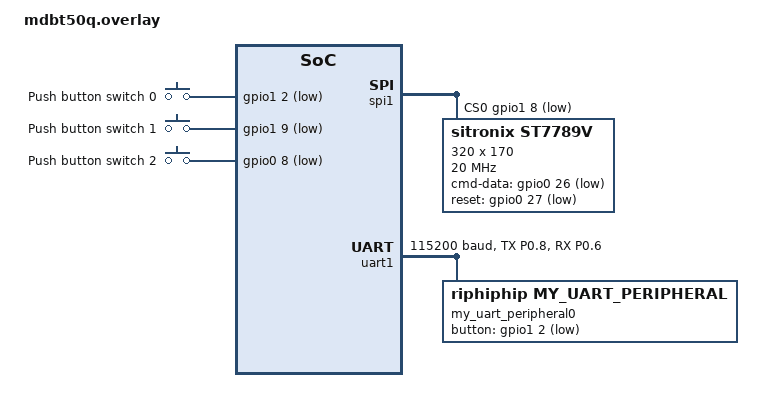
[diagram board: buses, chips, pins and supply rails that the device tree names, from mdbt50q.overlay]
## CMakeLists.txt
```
# SPDX-License-Identifier: Apache-2.0

# For the sake of demonstration, we add the driver directory as a zephyr module
# by hand. If your driver is a project that's managed by west, you can remove this line.
cmake_minimum_required(VERSION 3.20.0)

list(APPEND ZEPHYR_EXTRA_MODULES ${CMAKE_CURRENT_SOURCE_DIR}/my_oot_drivers)

find_package(Zephyr REQUIRED HINTS $ENV{ZEPHYR_BASE})
project(out_of_tree_driver)

target_include_directories(app PRIVATE ${CMAKE_CURRENT_SOURCE_DIR}/my_oot_drivers/drivers/my_uart_peripheral/)

FILE(GLOB app_sources src/*.c)
FILE(GLOB my_drv my_oot_drivers/drivers/my_uart_peripheral/*.c)

target_sources(app PRIVATE ${my_drv})
target_sources(app PRIVATE ${app_sources})
```

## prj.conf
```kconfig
CONFIG_LV_Z_MEM_POOL_NUMBER_BLOCKS=8
CONFIG_MAIN_STACK_SIZE=8192

CONFIG_DISPLAY=y
CONFIG_DISPLAY_LOG_LEVEL_ERR=y

CONFIG_LOG=y

CONFIG_LVGL=y
CONFIG_LV_USE_PERF_MONITOR=y
CONFIG_LV_MEM_CUSTOM=y
CONFIG_LV_USE_LOG=y
CONFIG_LV_USE_LABEL=y
CONFIG_LV_USE_BTN=y
CONFIG_LV_USE_IMG=y
CONFIG_LV_USE_METER=y
CONFIG_LV_FONT_MONTSERRAT_14=y

# Enable custom device driver
CONFIG_UART_INTERRUPT_DRIVEN=y
CONFIG_MY_UART_PERIPHERAL=y
CONFIG_MY_UART_PERIPHERAL_RX_BUF_SIZE=256
```

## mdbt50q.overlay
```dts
// To get started, press Ctrl+Space to bring up the completion menu and view the available nodes.

// You can also use the buttons in the sidebar to perform actions on nodes.
// Actions currently available include:

// * Enabling / disabling the node
// * Adding the bus to a bus
// * Removing the node
// * Connecting ADC channels

// For more help, browse the DeviceTree documentation at https://docs.zephyrproject.org/latest/guides/dts/index.html
// You can also visit the nRF DeviceTree extension documentation at https://nrfconnect.github.io/vscode-nrf-connect/devicetree/nrfdevicetree.html

// To get started, press Ctrl+Space to bring up the completion menu and view the available nodes.

// You can also use the buttons in the sidebar to perform actions on nodes.
// Actions currently available include:

// * Enabling / disabling the node
// * Adding the bus to a bus
// * Removing the node
// * Connecting ADC channels

// For more help, browse the DeviceTree documentation at https://docs.zephyrproject.org/latest/guides/dts/index.html
// You can also visit the nRF DeviceTree extension documentation at https://nrfconnect.github.io/vscode-nrf-connect/devicetree/nrfdevicetree.html

/ {
	chosen {
		zephyr,display = &st7789v;
	};

    buttons {
        compatible = "gpio-keys";
        button0: button_0 {
            gpios = <&gpio1 2 (GPIO_PULL_UP | GPIO_ACTIVE_LOW)>;
            label = "Push button switch 0";
        };
        button1: button_1 {
            gpios = <&gpio1 9 (GPIO_PULL_UP | GPIO_ACTIVE_LOW)>;
            label = "Push button switch 1";
        };
        button2: button_2 {
            gpios = <&gpio0 8 (GPIO_PULL_UP | GPIO_ACTIVE_LOW)>;
            label = "Push button switch 2";
        };        
    };

    aliases {
		sw0 = &button0;
		sw1 = &button1;
		sw2 = &button2;
	};

};

&spi1 {
	status = "okay";
	cs-gpios = <&gpio1 8 GPIO_ACTIVE_LOW>; /* D5 TFT*/

    st7789v: st7789v@0 {
		compatible = "sitronix,st7789v";
		label = "ST7789V";
		spi-max-frequency = <20000000>;
		reg = <0>;
		cmd-data-gpios = <&gpio0 26 GPIO_ACTIVE_LOW>;	/* D9 */
		reset-gpios = <&gpio0 27 GPIO_ACTIVE_LOW>;	/* D10 */
		width = <320>;
		height = <170>;
		x-offset = <0>;
		y-offset = <35>;
		vcom = <0x2b>;
		gctrl = <0x35>;
		vrhs = <0x0f>;
		vdvs = <0x20>;
		mdac = <0x60>;
		gamma = <0x01>;
		colmod = <0x55>;
		lcm = <0x2c>;
		porch-param = [0c 0c 00 33 33];
		cmd2en-param = [5a 69 02 01];
		pwctrl1-param = [52 a1];
		pvgam-param = [D0 00 02 07 0B 1A 31 54 40 29 12 12 12 17];
		nvgam-param = [D0 00 02 07 05 15 2D 44 44 1C 18 16 1C 1D];
		ram-param = [00 F8];
		rgb-param = [CD 08 14];
	};
};

&uart1 {
    compatible = "nordic,nrf-uarte";
    reg = <0x40028000 0x1000>;
    interrupts = <40 NRF_DEFAULT_IRQ_PRIORITY>;
    status = "okay";
    current-speed = <115200>;
    
    pinctrl-0 = <&uart1_default>;
	pinctrl-1 = <&uart1_sleep>;
	pinctrl-names = "default", "sleep";     

    my_device: my_uart_peripheral0 {
        compatible = "riphiphip,my_uart_peripheral";
        status="okay";
        label = "my_uart_peripheral0";
        button-gpios = <&gpio1 2 (GPIO_PULL_UP | GPIO_ACTIVE_LOW)>; // Button 1 on dk
        initial-string = "Hello, World!";
    };
};

&pinctrl {
    uart1_default: uart1_default {
		group1 {
			psels = <NRF_PSEL(UART_TX, 0, 8)>,
				<NRF_PSEL(UART_RX, 0, 6)>;
		};
	};

	uart1_sleep: uart1_sleep {
		group1 {
			psels = <NRF_PSEL(UART_TX, 0, 8)>,
				<NRF_PSEL(UART_RX, 0, 6)>;
			low-power-enable;
		};
	};
};
```

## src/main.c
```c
/*
 * Copyright (c) 2018 Jan Van Winkel <jan.van_winkel@dxplore.eu>
 *
 * SPDX-License-Identifier: Apache-2.0
 */

#include <zephyr/device.h>
#include <zephyr/devicetree.h>
#include <zephyr/drivers/display.h>
#include <zephyr/drivers/uart.h>
#include <lvgl.h>
#include <stdio.h>
#include <stdlib.h>
#include <string.h>
#include <zephyr/kernel.h>

#include "api.h"

#define LOG_LEVEL CONFIG_LOG_DEFAULT_LEVEL
#include <zephyr/logging/log.h>
LOG_MODULE_REGISTER(main, LOG_LEVEL_DBG);

#define STACK_SIZE 8192
#define PRIORITY 7

K_THREAD_STACK_DEFINE(stack_area1, STACK_SIZE);
K_THREAD_STACK_DEFINE(stack_area2, STACK_SIZE);

struct DATAMQ {  
  int data;
};

K_MSGQ_DEFINE(data_msgq, sizeof(struct DATAMQ), 80, 16);

static const struct device *uart_dev = DEVICE_DT_GET(DT_NODELABEL(uart1));

lv_obj_t *count_label;
lv_obj_t * meter;
lv_meter_scale_t * scale;
lv_meter_indicator_t * indic;
lv_obj_t * my_Cir;

void peripheral_callback(const struct device *dev, char *data, size_t length, bool is_string, void *user_data)
{
    struct DATAMQ data_msg;

    data_msg.data = atoi(data);

    printk("Time %d, %d\r\n", k_uptime_get_32(), data_msg.data);

    while (k_msgq_put(&data_msgq, &data_msg, K_NO_WAIT) != 0) {
              /* message queue is full: purge old data & try again */
              k_msgq_purge(&data_msgq);
          }
          // lv_tick_inc(10);
}

// Task: command line interface (CLI)
void doCLI() 
{
  const struct device *dev = device_get_binding(DT_LABEL(DT_NODELABEL(my_device)));
  my_uart_set_callback(dev, peripheral_callback, NULL);
}

void update_GUI(void)
{
	char count_str[11] = {0};
	struct DATAMQ data_msg;
  lv_area_t a;

	while (1) {
		// printk("Update GUI\r\n");
		k_msgq_get(&data_msgq, &data_msg, K_NO_WAIT);
		

		sprintf(count_str, "%d", data_msg.data);
		lv_label_set_text(count_label, count_str);
    lv_obj_set_size(my_Cir , 50, data_msg.data - 1900);
    // lv_meter_set_indicator_value(meter, indic, data_msg.data);
		
		lv_task_handler();
		k_yield();
	}
}

void main(void)
{
	int err;
	char count_str[11] = {0};
	const struct device *display_dev;

	if (!device_is_ready(uart_dev)) {
		LOG_ERR("UART device not ready\n");
		return;
	}


	display_dev = DEVICE_DT_GET(DT_CHOSEN(zephyr_display));
	if (!device_is_ready(display_dev)) {
		LOG_ERR("Device not ready, aborting test");
		return;
	}

	lv_disp_t * dispp = lv_disp_get_default();
  lv_theme_t * theme = lv_theme_default_init(dispp, lv_palette_main(LV_PALETTE_BLUE), lv_palette_main(LV_PALETTE_RED),
                                              true, LV_FONT_DEFAULT);
  lv_disp_set_theme(dispp, theme);
	
  my_Cir = lv_obj_create(lv_scr_act());
  lv_obj_set_size(my_Cir , 0, 0);
  lv_obj_align(my_Cir, LV_ALIGN_CENTER, 75, 0);
  lv_obj_set_style_bg_color(my_Cir , lv_palette_main(LV_PALETTE_BLUE), 0);
  lv_obj_set_style_radius(my_Cir , LV_RADIUS_CIRCLE, 0);

	meter = lv_meter_create(lv_scr_act());
  lv_obj_align(meter, LV_ALIGN_CENTER, -75, 0);
  lv_obj_set_size(meter, 150, 150);

  /*Add a scale first*/
  scale = lv_meter_add_scale(meter);
  lv_meter_set_scale_ticks(meter, scale, 41, 2, 10, lv_palette_main(LV_PALETTE_GREY));
  lv_meter_set_scale_major_ticks(meter, scale, 8, 4, 15, lv_color_black(), 10);

  /*Add a blue arc to the start*/
  indic = lv_meter_add_arc(meter, scale, 3, lv_palette_main(LV_PALETTE_BLUE), 0);
  lv_meter_set_indicator_start_value(meter, indic, 0);
  lv_meter_set_indicator_end_value(meter, indic, 20);

  /*Make the tick lines blue at the start of the scale*/
  indic = lv_meter_add_scale_lines(meter, scale, lv_palette_main(LV_PALETTE_BLUE), lv_palette_main(LV_PALETTE_BLUE), false, 0);
  lv_meter_set_indicator_start_value(meter, indic, 0);
  lv_meter_set_indicator_end_value(meter, indic, 20);

  /*Add a red arc to the end*/
  indic = lv_meter_add_arc(meter, scale, 3, lv_palette_main(LV_PALETTE_RED), 0);
  lv_meter_set_indicator_start_value(meter, indic, 80);
  lv_meter_set_indicator_end_value(meter, indic, 100);

  /*Make the tick lines red at the end of the scale*/
  indic = lv_meter_add_scale_lines(meter, scale, lv_palette_main(LV_PALETTE_RED), lv_palette_main(LV_PALETTE_RED), false, 0);
  lv_meter_set_indicator_start_value(meter, indic, 80);
  lv_meter_set_indicator_end_value(meter, indic, 100);

  /*Add a needle line indicator*/
  indic = lv_meter_add_needle_line(meter, scale, 4, lv_palette_main(LV_PALETTE_GREY), -10);

	count_label = lv_label_create(lv_scr_act());
	lv_obj_align(count_label, LV_ALIGN_BOTTOM_MID, 0, 0);

	lv_task_handler();
	display_blanking_off(display_dev);

	struct k_thread thread1, thread2;

	k_thread_create(&thread1, stack_area1,
                                 K_THREAD_STACK_SIZEOF(stack_area1),
                                 update_GUI,
                                 NULL, NULL, NULL,
                                 PRIORITY, 0, K_NO_WAIT);

	k_thread_create(&thread2, stack_area2,
                                 K_THREAD_STACK_SIZEOF(stack_area2),
                                 doCLI,
                                 NULL, NULL, NULL,
                                 4, 0, K_NO_WAIT);

}
```
